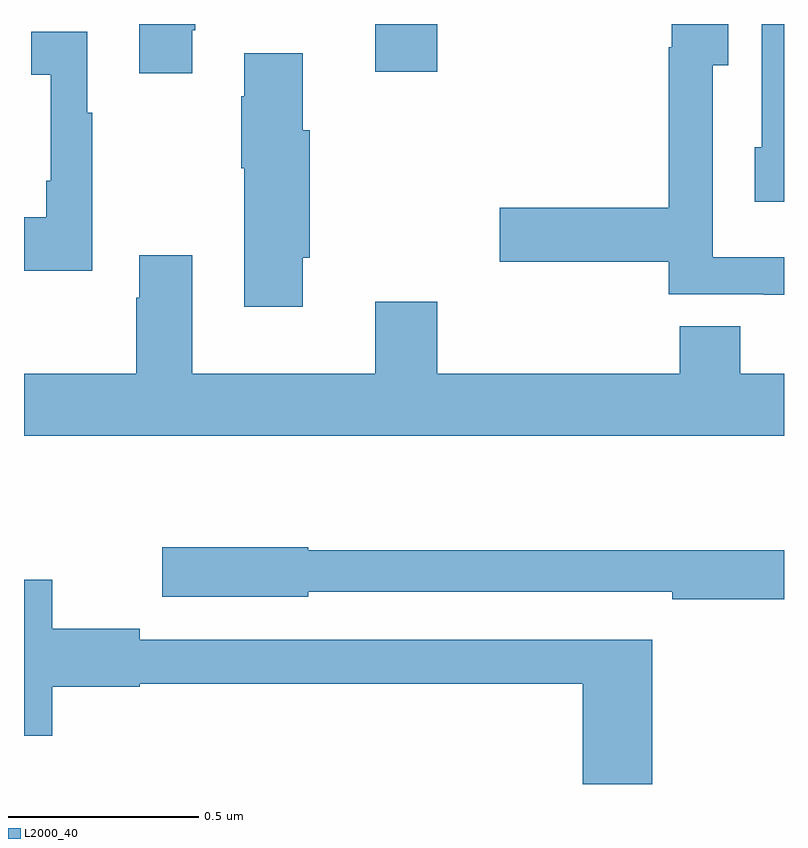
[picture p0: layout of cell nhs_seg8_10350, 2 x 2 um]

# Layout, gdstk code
import gdstk
lib = gdstk.Library(unit=1e-6, precision=1e-09)
def R(c, l, rs):  # rectangles x0, y0, x1, y1
    for r in rs: c.add(gdstk.rectangle(r[:2], r[2:], *l))
def P(c, l, *ps):  # polygons
    for p in ps: c.add(gdstk.Polygon(p, *l))
L2000_40 = (2000, 40)

nhs_seg8_10350 = lib.new_cell('nhs_seg8_10350')
R(nhs_seg8_10350, L2000_40, [(248.924,1134.774,249.088,1134.9)])
P(nhs_seg8_10350, L2000_40, [(248.443,1134.883),(248.451,1134.883),(248.451,1134.9),(248.303,1134.9),(248.303,1134.771),(248.443,1134.771)],
  [(250,1134.286),(249.813,1134.286),(249.813,1134.791),(249.853,1134.791),(249.853,1134.9),(249.705,1134.9),(249.705,1134.839),(249.697,1134.839),(249.697,1134.416),(249.252,1134.416),(249.252,1134.274),(249.697,1134.274),(249.697,1134.189),(249.947,1134.189),(249.947,1134.188),(250,1134.188)],
  [(250,1134.9),(249.941,1134.9),(249.941,1134.576),(249.923,1134.576),(249.923,1134.432),(250,1134.432)],
  [(248.179,1134.667),(248.167,1134.667),(248.167,1134.88),(248.019,1134.88),(248.019,1134.767),(248.07,1134.767),(248.07,1134.487),(248.058,1134.487),(248.058,1134.391),(248,1134.391),(248,1134.251),(248.179,1134.251)],
  [(248.734,1134.285),(248.752,1134.285),(248.752,1134.621),(248.734,1134.621),(248.734,1134.823),(248.579,1134.823),(248.579,1134.71),(248.572,1134.71),(248.572,1134.521),(248.579,1134.521),(248.579,1134.156),(248.734,1134.156)],
  [(248.303,1134.292),(248.303,1134.179),(248.296,1134.179),(248.296,1133.98),(248,1133.98),(248,1133.816),(250,1133.816),(250,1133.98),(249.885,1133.98),(249.885,1134.104),(249.725,1134.104),(249.725,1133.98),(249.088,1133.98),(249.088,1134.169),(248.924,1134.169),(248.924,1133.98),(248.443,1133.98),(248.443,1134.292)],
  [(250,1133.515),(248.748,1133.515),(248.748,1133.523),(248.364,1133.523),(248.364,1133.393),(248.748,1133.393),(248.748,1133.406),(249.706,1133.406),(249.706,1133.386),(250,1133.386)],
  [(249.653,1133.28),(248.304,1133.28),(248.304,1133.308),(248.074,1133.308),(248.074,1133.437),(248,1133.437),(248,1133.027),(248.074,1133.027),(248.074,1133.156),(248.304,1133.156),(248.304,1133.164),(249.47,1133.164),(249.47,1132.9),(249.653,1132.9)])

lib.write_gds('nhs_seg8_10350.gds')
